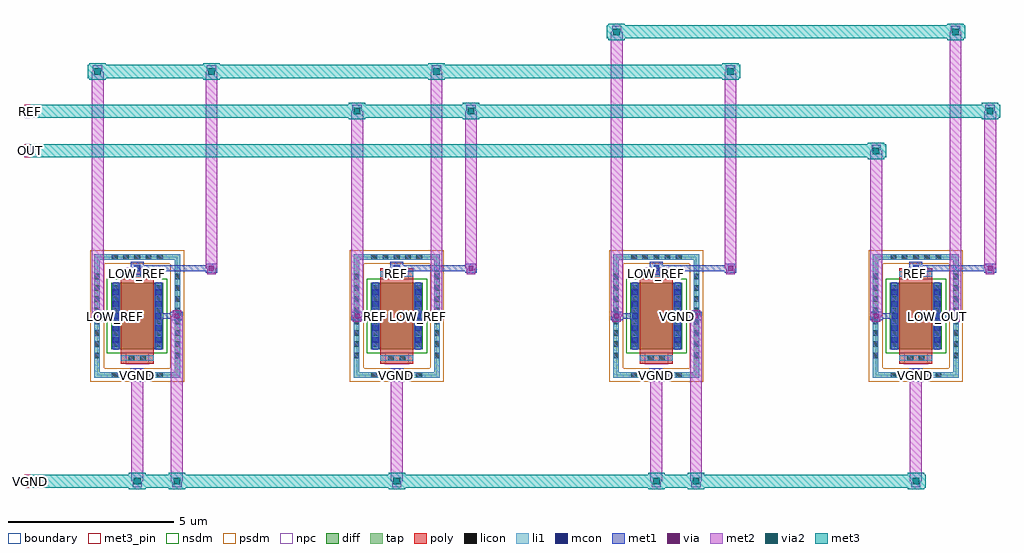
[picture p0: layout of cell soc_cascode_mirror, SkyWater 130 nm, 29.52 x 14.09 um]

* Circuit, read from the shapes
.subckt soc_cascode_mirror LOW_OUT LOW_REF OUT REF VGND
XM1 VGND LOW_REF LOW_REF VGND sky130_fd_pr__nfet_01v8 w=2 l=1
XM2 LOW_REF REF REF VGND sky130_fd_pr__nfet_01v8 w=2 l=1
XM3 VGND LOW_REF LOW_OUT VGND sky130_fd_pr__nfet_01v8 w=2 l=1
XM4 LOW_OUT REF OUT VGND sky130_fd_pr__nfet_01v8 w=2 l=1
.ends

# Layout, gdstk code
import gdstk
lib = gdstk.Library(unit=1e-6, precision=1e-09)
def R(c, l, rs):  # rectangles x0, y0, x1, y1
    for r in rs: c.add(gdstk.rectangle(r[:2], r[2:], *l))
def A(c, l, x, y, w, h, nx, ny, dx, dy):  # array of equal rectangles
    R(c, l, [(x+i*dx, y+j*dy, x+i*dx+w, y+j*dy+h) for i in range(nx) for j in range(ny)])
diff = (65, 20)
tap = (65, 44)
poly = (66, 20)
licon = (66, 44)
li1 = (67, 20)
mcon = (67, 44)
met1 = (68, 20)
via = (68, 44)
met2 = (69, 20)
via2 = (69, 44)
met3_pin = (70, 16)
met3 = (70, 20)
nsdm = (93, 44)
psdm = (94, 20)
npc = (95, 20)
boundary = (235, 4)

soc_cascode_mirror = lib.new_cell('soc_cascode_mirror')
A(soc_cascode_mirror, diff, 0.635, -1, 1.58, 2, 4, 1, 7.85, 0)
A(soc_cascode_mirror, tap, 0.125, -1.87, 2.6, 0.17, 4, 2, 7.85, 3.57)
R(soc_cascode_mirror, tap, [(0.125,-1.7,0.295,1.7), (2.555,-1.7,2.725,1.7), (7.975,-1.7,8.145,1.7), (10.405,-1.7,10.575,1.7), (15.825,-1.7,15.995,1.7), (18.255,-1.7,18.425,1.7), (23.675,-1.7,23.845,1.7), (26.105,-1.7,26.275,1.7)])
A(soc_cascode_mirror, poly, 0.925, -1.44, 1, 2.88, 4, 1, 7.85, 0)
A(soc_cascode_mirror, licon, 0.66, -1.87, 0.17, 0.17, 5, 2, 0.34, 3.57)
A(soc_cascode_mirror, licon, 8.51, -1.87, 0.17, 0.17, 5, 2, 0.34, 3.57)
A(soc_cascode_mirror, licon, 16.36, -1.87, 0.17, 0.17, 5, 2, 0.34, 3.57)
A(soc_cascode_mirror, licon, 24.21, -1.87, 0.17, 0.17, 5, 2, 0.34, 3.57)
A(soc_cascode_mirror, licon, 0.125, -1.275, 0.17, 0.17, 1, 8, 0, 0.34)
A(soc_cascode_mirror, licon, 2.555, -1.275, 0.17, 0.17, 1, 8, 0, 0.34)
A(soc_cascode_mirror, licon, 7.975, -1.275, 0.17, 0.17, 1, 8, 0, 0.34)
A(soc_cascode_mirror, licon, 10.405, -1.275, 0.17, 0.17, 1, 8, 0, 0.34)
A(soc_cascode_mirror, licon, 15.825, -1.275, 0.17, 0.17, 1, 8, 0, 0.34)
A(soc_cascode_mirror, licon, 18.255, -1.275, 0.17, 0.17, 1, 8, 0, 0.34)
A(soc_cascode_mirror, licon, 23.675, -1.275, 0.17, 0.17, 1, 8, 0, 0.34)
A(soc_cascode_mirror, licon, 26.105, -1.275, 0.17, 0.17, 1, 8, 0, 0.34)
A(soc_cascode_mirror, licon, 0.695, -0.935, 0.17, 0.17, 1, 6, 0, 0.34)
A(soc_cascode_mirror, licon, 1.985, -0.935, 0.17, 0.17, 1, 6, 0, 0.34)
A(soc_cascode_mirror, licon, 8.545, -0.935, 0.17, 0.17, 1, 6, 0, 0.34)
A(soc_cascode_mirror, licon, 9.835, -0.935, 0.17, 0.17, 1, 6, 0, 0.34)
A(soc_cascode_mirror, licon, 16.395, -0.935, 0.17, 0.17, 1, 6, 0, 0.34)
A(soc_cascode_mirror, licon, 17.685, -0.935, 0.17, 0.17, 1, 6, 0, 0.34)
A(soc_cascode_mirror, licon, 24.245, -0.935, 0.17, 0.17, 1, 6, 0, 0.34)
A(soc_cascode_mirror, licon, 25.535, -0.935, 0.17, 0.17, 1, 6, 0, 0.34)
R(soc_cascode_mirror, licon, [(1.17,-1.36,1.34,-1.19), (1.51,-1.36,1.68,-1.19), (9.02,-1.36,9.19,-1.19), (9.36,-1.36,9.53,-1.19), (16.87,-1.36,17.04,-1.19), (17.21,-1.36,17.38,-1.19), (24.72,-1.36,24.89,-1.19), (25.06,-1.36,25.23,-1.19), (1.17,1.19,1.34,1.36), (1.51,1.19,1.68,1.36), (9.02,1.19,9.19,1.36), (9.36,1.19,9.53,1.36), (16.87,1.19,17.04,1.36), (17.21,1.19,17.38,1.36), (24.72,1.19,24.89,1.36), (25.06,1.19,25.23,1.36)])
A(soc_cascode_mirror, li1, 0.125, -1.87, 2.6, 0.17, 4, 2, 7.85, 3.57)
A(soc_cascode_mirror, li1, 0.925, -1.36, 1, 0.17, 4, 2, 7.85, 2.55)
A(soc_cascode_mirror, li1, 1.34, 1.19, 0.17, 0.34, 4, 1, 7.85, 0)
R(soc_cascode_mirror, li1, [(0.125,-1.7,0.295,1.7), (2.555,-1.7,2.725,1.7), (7.975,-1.7,8.145,1.7), (10.405,-1.7,10.575,1.7), (15.825,-1.7,15.995,1.7), (18.255,-1.7,18.425,1.7), (23.675,-1.7,23.845,1.7), (26.105,-1.7,26.275,1.7), (0.695,-1.02,0.865,1.02), (1.985,-1.02,2.155,1.02), (8.545,-1.02,8.715,1.02), (9.835,-1.02,10.005,1.02), (16.395,-1.02,16.565,1.02), (17.685,-1.02,17.855,1.02), (24.245,-1.02,24.415,1.02), (25.535,-1.02,25.705,1.02)])
A(soc_cascode_mirror, mcon, 1.34, -1.87, 0.17, 0.17, 4, 2, 7.85, 3.23)
A(soc_cascode_mirror, mcon, 0.695, -0.805, 0.17, 0.17, 1, 5, 0, 0.36)
A(soc_cascode_mirror, mcon, 1.985, -0.805, 0.17, 0.17, 1, 5, 0, 0.36)
A(soc_cascode_mirror, mcon, 8.545, -0.805, 0.17, 0.17, 1, 5, 0, 0.36)
A(soc_cascode_mirror, mcon, 9.835, -0.805, 0.17, 0.17, 1, 5, 0, 0.36)
A(soc_cascode_mirror, mcon, 16.395, -0.805, 0.17, 0.17, 1, 5, 0, 0.36)
A(soc_cascode_mirror, mcon, 17.685, -0.805, 0.17, 0.17, 1, 5, 0, 0.36)
A(soc_cascode_mirror, mcon, 24.245, -0.805, 0.17, 0.17, 1, 5, 0, 0.36)
A(soc_cascode_mirror, mcon, 25.535, -0.805, 0.17, 0.17, 1, 5, 0, 0.36)
A(soc_cascode_mirror, met1, 1.225, -1.985, 0.4, 0.4, 4, 2, 7.85, 3.23)
A(soc_cascode_mirror, met1, 1.245, -1.915, 0.36, 0.26, 4, 1, 7.85, 0)
A(soc_cascode_mirror, met1, 3.49, 1.315, 0.36, 0.26, 4, 1, 7.85, 0)
R(soc_cascode_mirror, met1, [(0.665,-1,0.895,1), (1.955,-1,2.185,1), (8.515,-1,8.745,1), (9.805,-1,10.035,1), (16.365,-1,16.595,1), (17.655,-1,17.885,1), (24.215,-1,24.445,1), (25.505,-1,25.735,1), (0.045,-0.13,0.405,0.13), (2.445,-0.13,2.805,0.13), (7.895,-0.13,8.255,0.13), (10.295,-0.13,10.655,0.13), (15.745,-0.13,16.105,0.13), (18.145,-0.13,18.505,0.13), (23.595,-0.13,23.955,0.13), (25.995,-0.13,26.355,0.13)])
A(soc_cascode_mirror, via, 1.35, -1.86, 0.15, 0.15, 4, 1, 7.85, 0)
A(soc_cascode_mirror, via, 3.595, 1.37, 0.15, 0.15, 4, 1, 7.85, 0)
R(soc_cascode_mirror, via, [(0.15,-0.075,0.3,0.075), (2.55,-0.075,2.7,0.075), (8,-0.075,8.15,0.075), (10.4,-0.075,10.55,0.075), (15.85,-0.075,16,0.075), (18.25,-0.075,18.4,0.075), (23.7,-0.075,23.85,0.075), (26.1,-0.075,26.25,0.075)])
A(soc_cascode_mirror, met2, 1.295, -1.965, 0.26, 0.36, 4, 1, 7.85, 0)
A(soc_cascode_mirror, met2, 3.54, 1.265, 0.26, 0.36, 4, 1, 7.85, 0)
R(soc_cascode_mirror, met2, [(1.285,-5.185,1.565,-4.805), (2.485,-5.185,2.765,-4.805), (9.135,-5.185,9.415,-4.805), (16.985,-5.185,17.265,-4.805), (18.185,-5.185,18.465,-4.805), (24.835,-5.185,25.115,-4.805), (0.095,-0.18,0.355,0.18), (2.495,-0.18,2.755,0.18), (7.945,-0.18,8.205,0.18), (10.345,-0.18,10.605,0.18), (15.795,-0.18,16.055,0.18), (18.195,-0.18,18.455,0.18), (23.645,-0.18,23.905,0.18), (26.045,-0.18,26.305,0.18), (23.635,4.805,23.915,5.185), (7.935,6.005,8.215,6.385), (11.38,6.005,11.66,6.385), (27.08,6.005,27.36,6.385), (0.085,7.205,0.365,7.585), (3.53,7.205,3.81,7.585), (10.335,7.205,10.615,7.585), (19.23,7.205,19.51,7.585), (15.785,8.405,16.065,8.785), (26.035,8.405,26.315,8.785)])
R(soc_cascode_mirror, via2, [(1.325,-5.095,1.525,-4.895), (2.525,-5.095,2.725,-4.895), (9.175,-5.095,9.375,-4.895), (17.025,-5.095,17.225,-4.895), (18.225,-5.095,18.425,-4.895), (24.875,-5.095,25.075,-4.895), (23.675,4.895,23.875,5.095), (7.975,6.095,8.175,6.295), (11.42,6.095,11.62,6.295), (27.12,6.095,27.32,6.295), (0.125,7.295,0.325,7.495), (3.57,7.295,3.77,7.495), (10.375,7.295,10.575,7.495), (19.27,7.295,19.47,7.495), (15.825,8.495,16.025,8.695), (26.075,8.495,26.275,8.695)])
R(soc_cascode_mirror, met3_pin, [(-2,-5.195,-1.6,-4.795), (-2,4.795,-1.6,5.195), (-2,5.995,-1.6,6.395)])
R(soc_cascode_mirror, met3, [(1.175,-5.245,1.675,-4.745), (2.375,-5.245,2.875,-4.745), (9.025,-5.245,9.525,-4.745), (16.875,-5.245,17.375,-4.745), (18.075,-5.245,18.575,-4.745), (24.725,-5.245,25.225,-4.745), (23.525,4.745,24.025,5.245), (7.825,5.945,8.325,6.445), (11.27,5.945,11.77,6.445), (26.97,5.945,27.47,6.445), (-0.025,7.145,0.475,7.645), (3.42,7.145,3.92,7.645), (10.225,7.145,10.725,7.645), (19.12,7.145,19.62,7.645), (15.675,8.345,16.175,8.845), (25.925,8.345,26.425,8.845)])
A(soc_cascode_mirror, nsdm, 0.51, -1.125, 1.83, 2.25, 4, 1, 7.85, 0)
A(soc_cascode_mirror, psdm, 0, -1.995, 2.85, 0.42, 4, 2, 7.85, 3.57)
R(soc_cascode_mirror, psdm, [(0,-1.575,0.42,1.575), (2.43,-1.575,2.85,1.575), (7.85,-1.575,8.27,1.575), (10.28,-1.575,10.7,1.575), (15.7,-1.575,16.12,1.575), (18.13,-1.575,18.55,1.575), (23.55,-1.575,23.97,1.575), (25.98,-1.575,26.4,1.575)])
A(soc_cascode_mirror, npc, 1.07, -1.46, 0.71, 0.37, 4, 2, 7.85, 2.55)
A(soc_cascode_mirror, boundary, 0.21, -1.785, 2.43, 3.57, 4, 1, 7.85, 0)
soc_cascode_mirror.add(gdstk.FlexPath([(24.33,0),(23.775,0)], 0.17, ends="flush", simple_path=True, layer=68, datatype=20))  # met1
soc_cascode_mirror.add(gdstk.FlexPath([(17.125,1.445),(19.37,1.445)], 0.17, ends="flush", simple_path=True, layer=68, datatype=20))  # met1
soc_cascode_mirror.add(gdstk.FlexPath([(9.275,-1.785),(9.275,-1.785)], 0.17, ends="flush", simple_path=True, layer=68, datatype=20))  # met1
soc_cascode_mirror.add(gdstk.FlexPath([(24.975,-1.785),(24.975,-1.785)], 0.17, ends="flush", simple_path=True, layer=68, datatype=20))  # met1
soc_cascode_mirror.add(gdstk.FlexPath([(1.425,-1.785),(1.425,-1.785)], 0.17, ends="flush", simple_path=True, layer=68, datatype=20))  # met1
soc_cascode_mirror.add(gdstk.FlexPath([(8.63,0),(8.075,0)], 0.17, ends="flush", simple_path=True, layer=68, datatype=20))  # met1
soc_cascode_mirror.add(gdstk.FlexPath([(9.92,0),(10.475,0)], 0.17, ends="flush", simple_path=True, layer=68, datatype=20))  # met1
soc_cascode_mirror.add(gdstk.FlexPath([(25.62,0),(26.175,0)], 0.17, ends="flush", simple_path=True, layer=68, datatype=20))  # met1
soc_cascode_mirror.add(gdstk.FlexPath([(0.78,0),(0.225,0)], 0.17, ends="flush", simple_path=True, layer=68, datatype=20))  # met1
soc_cascode_mirror.add(gdstk.FlexPath([(24.975,1.445),(27.22,1.445)], 0.17, ends="flush", simple_path=True, layer=68, datatype=20))  # met1
soc_cascode_mirror.add(gdstk.FlexPath([(1.425,1.445),(3.67,1.445)], 0.17, ends="flush", simple_path=True, layer=68, datatype=20))  # met1
soc_cascode_mirror.add(gdstk.FlexPath([(2.07,0),(2.625,0)], 0.17, ends="flush", simple_path=True, layer=68, datatype=20))  # met1
soc_cascode_mirror.add(gdstk.FlexPath([(9.275,1.445),(11.52,1.445)], 0.17, ends="flush", simple_path=True, layer=68, datatype=20))  # met1
soc_cascode_mirror.add(gdstk.FlexPath([(17.125,-1.785),(17.125,-1.785)], 0.17, ends="flush", simple_path=True, layer=68, datatype=20))  # met1
soc_cascode_mirror.add(gdstk.FlexPath([(16.48,0),(15.925,0)], 0.17, ends="flush", simple_path=True, layer=68, datatype=20))  # met1
soc_cascode_mirror.add(gdstk.FlexPath([(17.77,0),(18.325,0)], 0.17, ends="flush", simple_path=True, layer=68, datatype=20))  # met1
soc_cascode_mirror.add(gdstk.FlexPath([(17.125,-1.785),(17.125,-4.995)], 0.36, ends="flush", simple_path=True, layer=69, datatype=20))  # met2
soc_cascode_mirror.add(gdstk.FlexPath([(2.625,0),(2.625,-4.995)], 0.36, ends="flush", simple_path=True, layer=69, datatype=20))  # met2
soc_cascode_mirror.add(gdstk.FlexPath([(26.175,0),(26.175,8.595)], 0.36, ends="flush", simple_path=True, layer=69, datatype=20))  # met2
soc_cascode_mirror.add(gdstk.FlexPath([(27.22,1.445),(27.22,6.195)], 0.36, ends="flush", simple_path=True, layer=69, datatype=20))  # met2
soc_cascode_mirror.add(gdstk.FlexPath([(0.225,0),(0.225,7.395)], 0.36, ends="flush", simple_path=True, layer=69, datatype=20))  # met2
soc_cascode_mirror.add(gdstk.FlexPath([(3.67,1.445),(3.67,7.395)], 0.36, ends="flush", simple_path=True, layer=69, datatype=20))  # met2
soc_cascode_mirror.add(gdstk.FlexPath([(24.975,-1.785),(24.975,-4.995)], 0.36, ends="flush", simple_path=True, layer=69, datatype=20))  # met2
soc_cascode_mirror.add(gdstk.FlexPath([(23.775,0),(23.775,4.995)], 0.36, ends="flush", simple_path=True, layer=69, datatype=20))  # met2
soc_cascode_mirror.add(gdstk.FlexPath([(1.425,-1.785),(1.425,-4.995)], 0.36, ends="flush", simple_path=True, layer=69, datatype=20))  # met2
soc_cascode_mirror.add(gdstk.FlexPath([(8.075,0),(8.075,6.195)], 0.36, ends="flush", simple_path=True, layer=69, datatype=20))  # met2
soc_cascode_mirror.add(gdstk.FlexPath([(11.52,1.445),(11.52,6.195)], 0.36, ends="flush", simple_path=True, layer=69, datatype=20))  # met2
soc_cascode_mirror.add(gdstk.FlexPath([(19.37,1.445),(19.37,7.395)], 0.36, ends="flush", simple_path=True, layer=69, datatype=20))  # met2
soc_cascode_mirror.add(gdstk.FlexPath([(10.475,0),(10.475,7.395)], 0.36, ends="flush", simple_path=True, layer=69, datatype=20))  # met2
soc_cascode_mirror.add(gdstk.FlexPath([(9.275,-1.785),(9.275,-4.995)], 0.36, ends="flush", simple_path=True, layer=69, datatype=20))  # met2
soc_cascode_mirror.add(gdstk.FlexPath([(15.925,0),(15.925,8.595)], 0.36, ends="flush", simple_path=True, layer=69, datatype=20))  # met2
soc_cascode_mirror.add(gdstk.FlexPath([(18.325,0),(18.325,-4.995)], 0.36, ends="flush", simple_path=True, layer=69, datatype=20))  # met2
soc_cascode_mirror.add(gdstk.FlexPath([(-1.8,4.995),(24.075,4.995)], 0.4, ends="flush", simple_path=True, layer=70, datatype=20))  # met3
soc_cascode_mirror.add(gdstk.FlexPath([(-1.8,6.195),(27.52,6.195)], 0.4, ends="flush", simple_path=True, layer=70, datatype=20))  # met3
soc_cascode_mirror.add(gdstk.FlexPath([(-0.075,7.395),(19.67,7.395)], 0.4, ends="flush", simple_path=True, layer=70, datatype=20))  # met3
soc_cascode_mirror.add(gdstk.FlexPath([(15.625,8.595),(26.475,8.595)], 0.4, ends="flush", simple_path=True, layer=70, datatype=20))  # met3
soc_cascode_mirror.add(gdstk.FlexPath([(-1.8,-4.995),(25.275,-4.995)], 0.4, ends="flush", simple_path=True, layer=70, datatype=20))  # met3
soc_cascode_mirror.add(gdstk.Label('VGND', (24.975,-1.785), layer=67, texttype=5))
soc_cascode_mirror.add(gdstk.Label('LOW_REF', (17.125,1.275), layer=67, texttype=5))
soc_cascode_mirror.add(gdstk.Label('VGND', (17.77,0), layer=67, texttype=5))
soc_cascode_mirror.add(gdstk.Label('REF', (24.975,1.275), layer=67, texttype=5))
soc_cascode_mirror.add(gdstk.Label('LOW_REF', (9.92,0), layer=67, texttype=5))
soc_cascode_mirror.add(gdstk.Label('LOW_OUT', (25.62,0), layer=67, texttype=5))
soc_cascode_mirror.add(gdstk.Label('OUT', (24.33,0), layer=67, texttype=5))
soc_cascode_mirror.add(gdstk.Label('LOW_REF', (0.78,0), layer=67, texttype=5))
soc_cascode_mirror.add(gdstk.Label('VGND', (17.125,-1.785), layer=67, texttype=5))
soc_cascode_mirror.add(gdstk.Label('LOW_OUT', (16.48,0), layer=67, texttype=5))
soc_cascode_mirror.add(gdstk.Label('VGND', (2.07,0), layer=67, texttype=5))
soc_cascode_mirror.add(gdstk.Label('LOW_REF', (1.425,1.275), layer=67, texttype=5))
soc_cascode_mirror.add(gdstk.Label('REF', (9.275,1.275), layer=67, texttype=5))
soc_cascode_mirror.add(gdstk.Label('VGND', (1.425,-1.785), layer=67, texttype=5))
soc_cascode_mirror.add(gdstk.Label('VGND', (9.275,-1.785), layer=67, texttype=5))
soc_cascode_mirror.add(gdstk.Label('REF', (8.63,0), layer=67, texttype=5))
soc_cascode_mirror.add(gdstk.Label('OUT', (-1.8,4.995), layer=70, texttype=5))
soc_cascode_mirror.add(gdstk.Label('REF', (-1.8,6.195), layer=70, texttype=5))
soc_cascode_mirror.add(gdstk.Label('VGND', (-1.8,-4.995), layer=70, texttype=5))

lib.write_gds('soc_cascode_mirror.gds')
